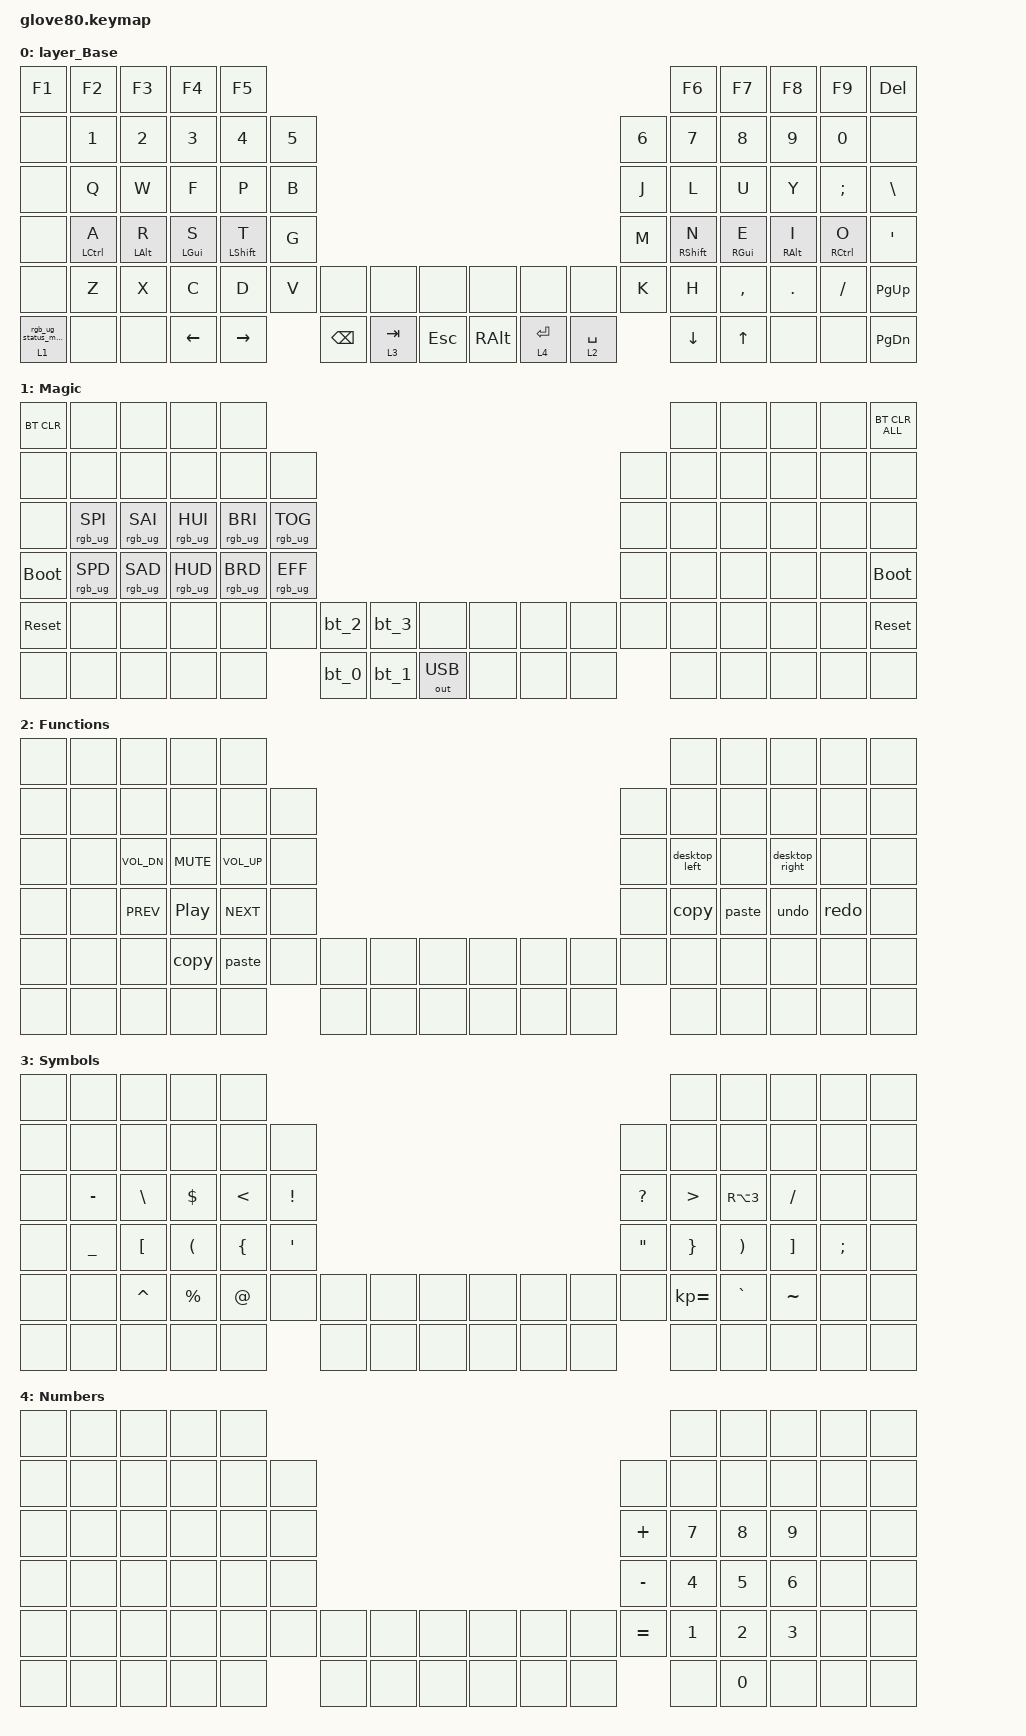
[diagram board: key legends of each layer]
/* Include all behaviour includes needed by system behaviors/macros */
/* Include behaviour includes needed by key binds - automatically generated */

#include <behaviors.dtsi>
#include <dt-bindings/zmk/bt.h>
#include <dt-bindings/zmk/keys.h>
#include <dt-bindings/zmk/outputs.h>
#include <dt-bindings/zmk/rgb.h>

#define QUICK_TAP_MS 175

&sk {
    release-after-ms = <900>;  // release after 0.6s
    quick-release;             // no double capitalization when rolling keys
};

&sl {
    ignore-modifiers;          // allow chording sticky mods & layers
};

&lt {
    flavor = "balanced";
    tapping-term-ms = <200>;
    quick-tap-ms = <QUICK_TAP_MS>;
};

/ {
    /* Glove80 system behavior & macros */

    behaviors {
        hmr: hmr {
            compatible = "zmk,behavior-hold-tap";
            label = "HMR";
            bindings = <&kp>, <&kp>;

            #binding-cells = <2>;
            tapping-term-ms = <280>;
            quick-tap-ms = <175>;
            require-prior-idle-ms = <150>;
            flavor = "balanced";
            hold-trigger-on-release;
            hold-trigger-key-positions = <41 42 43 44>;
        };

        hml: hml {
            compatible = "zmk,behavior-hold-tap";
            label = "HML";
            #binding-cells = <2>;
            tapping-term-ms = <280>;
            quick-tap-ms = <175>;
            require-prior-idle-ms = <150>;
            flavor = "balanced";
            hold-trigger-on-release;
            hold-trigger-key-positions = <36 37 38 35>;
            bindings = <&kp>, <&kp>;
        };
    };
};

/ {
    macros {
        rgb_ug_status_macro: rgb_ug_status_macro_0 {
            label = "RGB_UG_STATUS";
            compatible = "zmk,behavior-macro";
            #binding-cells = <0>;
            bindings = <&rgb_ug RGB_STATUS>;
        };

        bt_0: bt_profile_macro_0 {
            label = "BT_0";
            compatible = "zmk,behavior-macro";
            #binding-cells = <0>;
            bindings = <&out OUT_BLE &bt BT_SEL 0>;
        };

        bt_1: bt_profile_macro_1 {
            label = "BT_1";
            compatible = "zmk,behavior-macro";
            #binding-cells = <0>;
            bindings = <&out OUT_BLE &bt BT_SEL 1>;
        };

        bt_2: bt_profile_macro_2 {
            label = "BT_2";
            compatible = "zmk,behavior-macro";
            #binding-cells = <0>;
            bindings = <&out OUT_BLE &bt BT_SEL 2>;
        };

        bt_3: bt_profile_macro_3 {
            label = "BT_3";
            compatible = "zmk,behavior-macro";
            #binding-cells = <0>;
            bindings = <&out OUT_BLE &bt BT_SEL 3>;
        };

        copy: copy {
            compatible = "zmk,behavior-macro";
            #binding-cells = <0>;
            bindings = <&kp LG(C)>;
            label = "COPY";
        };

        paste: paste {
            compatible = "zmk,behavior-macro";
            #binding-cells = <0>;
            bindings = <&kp LG(V)>;
            label = "PASTE";
        };

        undo: undo {
            compatible = "zmk,behavior-macro";
            #binding-cells = <0>;
            bindings = <&kp LG(Z)>;
            label = "UNDO";
        };

        redo: redo {
            compatible = "zmk,behavior-macro";
            #binding-cells = <0>;
            bindings = <&kp LG(LS(Z))>;
            label = "REDO";
        };

        desktop_left: desktop_left {
            compatible = "zmk,behavior-macro";
            #binding-cells = <0>;
            bindings = <&kp LC(LEFT_ARROW)>;
            label = "DESKTOP_LEFT";
        };

        desktop_right: desktop_right {
            compatible = "zmk,behavior-macro";
            #binding-cells = <0>;
            bindings = <&kp LC(RIGHT)>;
            label = "DESKTOP_RIGHT";
        };
    };
};

/ {
    magic: magic_hold_tap {
        compatible = "zmk,behavior-hold-tap";
        label = "MAGIC_HOLD_TAP";
        #binding-cells = <2>;
        flavor = "tap-preferred";
        tapping-term-ms = <200>;
        bindings = <&mo>, <&rgb_ug_status_macro>;
    };
};

/* #define for key positions */

#define POS_LH_T1 52
#define POS_LH_T2 53
#define POS_LH_T3 54
#define POS_LH_T4 69
#define POS_LH_T5 70
#define POS_LH_T6 71
#define POS_LH_C1R2 15
#define POS_LH_C1R3 27
#define POS_LH_C1R4 39
#define POS_LH_C1R5 51
#define POS_LH_C2R1 4
#define POS_LH_C2R2 14
#define POS_LH_C2R3 26
#define POS_LH_C2R4 38
#define POS_LH_C2R5 50
#define POS_LH_C2R6 68
#define POS_LH_C3R1 3
#define POS_LH_C3R2 13
#define POS_LH_C3R3 25
#define POS_LH_C3R4 37
#define POS_LH_C3R5 49
#define POS_LH_C3R6 67
#define POS_LH_C4R1 2
#define POS_LH_C4R2 12
#define POS_LH_C4R3 24
#define POS_LH_C4R4 36
#define POS_LH_C4R5 48
#define POS_LH_C4R6 66
#define POS_LH_C5R1 1
#define POS_LH_C5R2 11
#define POS_LH_C5R3 23
#define POS_LH_C5R4 35
#define POS_LH_C5R5 47
#define POS_LH_C5R6 65
#define POS_LH_C6R1 0
#define POS_LH_C6R2 10
#define POS_LH_C6R3 22
#define POS_LH_C6R4 34
#define POS_LH_C6R5 46
#define POS_LH_C6R6 64
#define POS_RH_T1 57
#define POS_RH_T2 56
#define POS_RH_T3 55
#define POS_RH_T4 74
#define POS_RH_T5 73
#define POS_RH_T6 72
#define POS_RH_C1R2 16
#define POS_RH_C1R3 28
#define POS_RH_C1R4 40
#define POS_RH_C1R5 58
#define POS_RH_C2R1 5
#define POS_RH_C2R2 17
#define POS_RH_C2R3 29
#define POS_RH_C2R4 41
#define POS_RH_C2R5 59
#define POS_RH_C2R6 75
#define POS_RH_C3R1 6
#define POS_RH_C3R2 18
#define POS_RH_C3R3 30
#define POS_RH_C3R4 42
#define POS_RH_C3R5 60
#define POS_RH_C3R6 76
#define POS_RH_C4R1 7
#define POS_RH_C4R2 19
#define POS_RH_C4R3 31
#define POS_RH_C4R4 43
#define POS_RH_C4R5 61
#define POS_RH_C4R6 77
#define POS_RH_C5R1 8
#define POS_RH_C5R2 20
#define POS_RH_C5R3 32
#define POS_RH_C5R4 44
#define POS_RH_C5R5 62
#define POS_RH_C5R6 78
#define POS_RH_C6R1 9
#define POS_RH_C6R2 21
#define POS_RH_C6R3 33
#define POS_RH_C6R4 45
#define POS_RH_C6R5 63
#define POS_RH_C6R6 79

/* Automatically generated layer name #define */

#define LAYER_Base 0
#define LAYER_Lower 1
#define LAYER_Magic 2
#define LAYER_Media 3

/* Custom Defined Behaviors */

/ {
};

/* Automatically generated keymap */

/ {
    keymap {
        compatible = "zmk,keymap";

        layer_Base {
            bindings = <
&kp F1      &kp F2        &kp F3           &kp F4           &kp F5                                                                                                  &kp F6              &kp F7            &kp F8            &kp F9        &kp DEL
&none       &kp N1        &kp N2           &kp N3           &kp N4             &kp N5                                                                       &kp N6  &kp N7              &kp N8            &kp N9            &kp N0        &none
&none       &kp Q         &kp W            &kp F            &kp P              &kp B                                                                        &kp J   &kp L               &kp U             &kp Y             &kp SEMI      &kp BSLH
&none       &hml LCTRL A  &hml LEFT_ALT R  &hml LEFT_GUI S  &hml LEFT_SHIFT T  &kp G                                                                        &kp M   &hmr RIGHT_SHIFT N  &hmr RIGHT_GUI E  &hmr RIGHT_ALT I  &hmr RCTRL O  &kp SQT
&none       &kp Z         &kp X            &kp C            &kp D              &kp V   &none     &none      &none       &none     &none        &none        &kp K   &kp H               &kp COMMA         &kp DOT           &kp FSLH      &kp PG_UP
&magic 1 0  &none         &none            &kp LEFT         &kp RIGHT                  &kp BSPC  &lt 3 TAB  &kp ESCAPE  &kp RALT  &lt 4 ENTER  &lt 2 SPACE          &kp DOWN_ARROW      &kp UP_ARROW      &none             &none         &kp PG_DN
            >;
        };

        magic_layer {
            bindings = <
&bt BT_CLR   &none            &none            &none            &none                                                                                     &none  &none  &none  &none  &bt BT_CLR_ALL
&none        &none            &none            &none            &none            &none                                                             &none  &none  &none  &none  &none  &none
&none        &rgb_ug RGB_SPI  &rgb_ug RGB_SAI  &rgb_ug RGB_HUI  &rgb_ug RGB_BRI  &rgb_ug RGB_TOG                                                   &none  &none  &none  &none  &none  &none
&bootloader  &rgb_ug RGB_SPD  &rgb_ug RGB_SAD  &rgb_ug RGB_HUD  &rgb_ug RGB_BRD  &rgb_ug RGB_EFF                                                   &none  &none  &none  &none  &none  &bootloader
&sys_reset   &none            &none            &none            &none            &none            &bt_2  &bt_3  &none         &none  &none  &none  &none  &none  &none  &none  &none  &sys_reset
&none        &none            &none            &none            &none                             &bt_0  &bt_1  &out OUT_USB  &none  &none  &none         &none  &none  &none  &none  &none
            >;

            label = "Magic";
        };

        Functions {
            bindings = <
&none  &none  &none         &none       &none                                                                 &none          &none   &none           &none  &none
&none  &none  &none         &none       &none         &none                                            &none  &none          &none   &none           &none  &none
&none  &none  &kp C_VOL_DN  &kp C_MUTE  &kp C_VOL_UP  &none                                            &none  &desktop_left  &none   &desktop_right  &none  &none
&none  &none  &kp C_PREV    &kp C_PP    &kp C_NEXT    &none                                            &none  &copy          &paste  &undo           &redo  &none
&none  &none  &none         &copy       &paste        &none  &none  &none  &none  &none  &none  &none  &none  &none          &none   &none           &none  &none
&none  &none  &none         &none       &none                &none  &none  &none  &none  &none  &none         &none          &none   &none           &none  &none
            >;

            label = "Functions";
        };

        Symbols {
            bindings = <
&none  &none      &none             &none                 &none                                                                                          &none             &none                  &none              &none          &none
&none  &none      &none             &none                 &none           &none                                                       &none              &none             &none                  &none              &none          &none
&none  &kp MINUS  &kp BACKSLASH     &kp DOLLAR            &kp LESS_THAN   &kp EXCL                                                    &kp QMARK          &kp GREATER_THAN  &kp RA(NUMBER_3)       &kp SLASH          &none          &none
&none  &kp UNDER  &kp LEFT_BRACKET  &kp LEFT_PARENTHESIS  &kp LEFT_BRACE  &kp SINGLE_QUOTE                                            &kp DOUBLE_QUOTES  &kp RIGHT_BRACE   &kp RIGHT_PARENTHESIS  &kp RIGHT_BRACKET  &kp SEMICOLON  &none
&none  &none      &kp CARET         &kp PERCENT           &kp AT          &none             &none  &none  &none  &none  &none  &none  &none              &kp KP_EQUAL      &kp GRAVE              &kp TILDE          &none          &none
&none  &none      &none             &none                 &none                             &none  &none  &none  &none  &none  &none                     &none             &none                  &none              &none          &none
            >;
        };

        Numbers {
            bindings = <
&none  &none  &none  &none  &none                                                              &none         &none         &none         &none  &none
&none  &none  &none  &none  &none  &none                                            &none      &none         &none         &none         &none  &none
&none  &none  &none  &none  &none  &none                                            &kp PLUS   &kp N7        &kp N8        &kp N9        &none  &none
&none  &none  &none  &none  &none  &none                                            &kp MINUS  &kp NUMBER_4  &kp N5        &kp NUMBER_6  &none  &none
&none  &none  &none  &none  &none  &none  &none  &none  &none  &none  &none  &none  &kp EQUAL  &kp NUMBER_1  &kp NUMBER_2  &kp NUMBER_3  &none  &none
&none  &none  &none  &none  &none         &none  &none  &none  &none  &none  &none             &none         &kp NUMBER_0  &none         &none  &none
            >;
        };
    };
};
